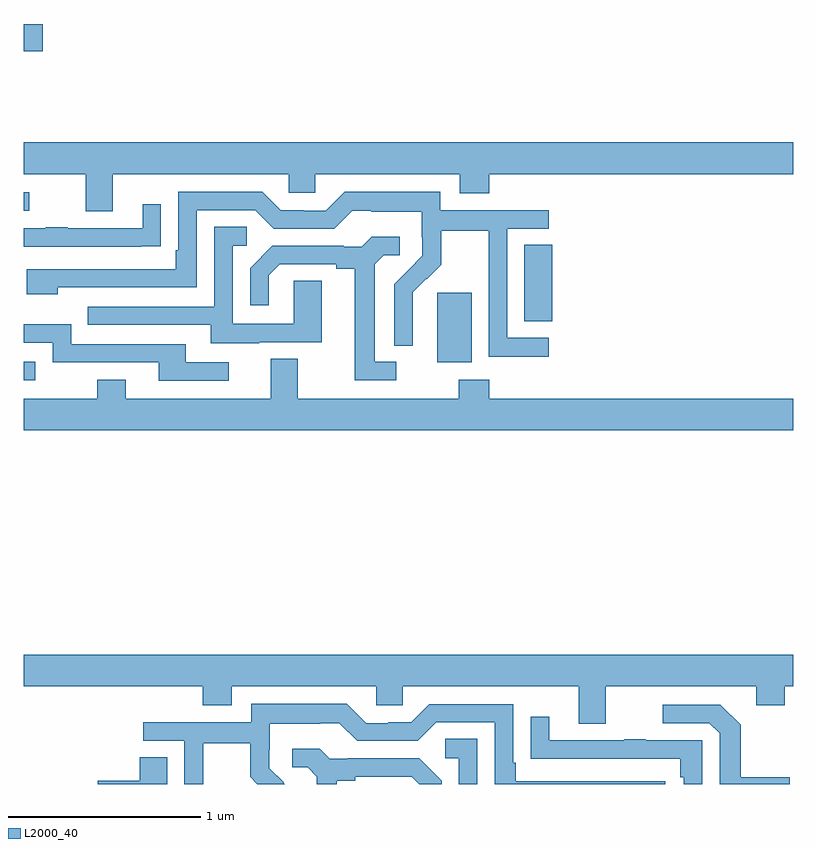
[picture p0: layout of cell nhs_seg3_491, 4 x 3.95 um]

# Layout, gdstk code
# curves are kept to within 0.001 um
import gdstk
lib = gdstk.Library(unit=1e-6, precision=1e-09)
def R(c, l, rs):  # rectangles x0, y0, x1, y1
    for r in rs: c.add(gdstk.rectangle(r[:2], r[2:], *l))
def P(c, l, *ps):  # polygons
    for p in ps: c.add(gdstk.Polygon(p, *l))
L2000_40 = (2000, 40)

nhs_seg3_491 = lib.new_cell('nhs_seg3_491')
R(nhs_seg3_491, L2000_40, [(135,710.499,135.058,710.595), (137.15,710.594,137.329,710.955), (137.603,710.806,137.747,711.203), (135,711.381,135.028,711.477), (135,712.21,135.097,712.352)])
P(nhs_seg3_491, L2000_40, [(135.463,711.572),(136.377,711.572),(136.377,711.474),(136.515,711.474),(136.515,711.572),(137.267,711.572),(137.267,711.473),(137.42,711.473),(137.42,711.572),(139,711.572),(139,711.736),(135,711.736),(135,711.572),(135.323,711.572),(135.323,711.378),(135.463,711.378)],
  [(137.728,710.721),(137.514,710.721),(137.514,711.288),(137.728,711.288),(137.728,711.384),(137.166,711.384),(137.166,711.481),(136.669,711.481),(136.569,711.381),(136.454,711.381),(136.454,711.384),(136.335,711.384),(136.239,711.48),(135.804,711.48),(135.804,711.175),(135.791,711.175),(135.791,711.078),(135.015,711.078),(135.015,710.948),(135.176,710.948),(135.176,710.982),(135.9,710.982),(135.9,711.384),(136.203,711.384),(136.299,711.288),(136.614,711.288),(136.707,711.381),(136.807,711.381),(136.807,711.377),(137.07,711.377),(137.07,711.243),(137.072,711.243),(137.072,711.146),(136.926,710.998),(136.926,710.68),(137.022,710.68),(137.021,710.957),(137.091,711.027),(137.094,711.024),(137.171,711.101),(137.171,711.276),(137.416,711.276),(137.416,711.052),(137.418,711.052),(137.418,710.623),(137.728,710.623)],
  [(135.611,711.196),(135.713,711.196),(135.713,711.415),(135.617,711.415),(135.617,711.291),(135.227,711.291),(135.227,711.296),(135.115,711.296),(135.115,711.291),(135,711.291),(135,711.195),(135.611,711.195)],
  [(136.225,710.697),(136.549,710.697),(136.549,711.017),(136.404,711.017),(136.404,710.793),(136.086,710.793),(136.086,711.198),(136.159,711.198),(136.159,711.299),(135.99,711.299),(135.99,710.883),(135.331,710.883),(135.331,710.787),(135.971,710.787),(135.971,710.693),(136.225,710.693)],
  [(136.936,710.595),(136.825,710.595),(136.825,711.103),(136.872,711.15),(136.954,711.15),(136.954,711.247),(136.81,711.247),(136.758,711.195),(136.664,711.195),(136.664,711.198),(136.292,711.198),(136.176,711.082),(136.176,710.889),(136.273,710.889),(136.273,711.045),(136.33,711.102),(136.625,711.102),(136.625,711.08),(136.721,711.08),(136.721,710.499),(136.936,710.499)],
  [(136.066,710.592),(135.841,710.592),(135.841,710.688),(135.246,710.688),(135.246,710.791),(135,710.791),(135,710.694),(135.15,710.694),(135.15,710.592),(135.701,710.592),(135.701,710.496),(136.066,710.496)],
  [(139,710.404),(137.42,710.404),(137.42,710.503),(137.26,710.503),(137.26,710.404),(136.423,710.404),(136.423,710.612),(136.283,710.612),(136.283,710.404),(135.529,710.404),(135.529,710.503),(135.382,710.503),(135.382,710.404),(135,710.404),(135,710.24),(139,710.24)],
  [(138.025,708.908),(138.809,708.908),(138.809,708.809),(138.957,708.809),(138.957,708.908),(139,708.908),(139,709.072),(135,709.072),(135,708.908),(135.929,708.908),(135.929,708.809),(136.081,708.809),(136.081,708.908),(136.833,708.908),(136.833,708.81),(136.971,708.81),(136.971,708.908),(137.885,708.908),(137.885,708.714),(138.025,708.714)],
  [(135.933,708.612),(136.177,708.612),(136.177,708.437),(136.214,708.4),(136.356,708.4),(136.349,708.407),(136.35,708.408),(136.276,708.482),(136.276,708.579),(136.278,708.579),(136.278,708.713),(136.541,708.713),(136.541,708.717),(136.641,708.717),(136.734,708.624),(137.049,708.624),(137.145,708.72),(137.448,708.72),(137.448,708.4),(138.334,708.4),(138.334,708.414),(137.557,708.414),(137.557,708.511),(137.544,708.511),(137.544,708.816),(137.109,708.816),(137.013,708.72),(136.895,708.72),(136.895,708.717),(136.779,708.717),(136.679,708.817),(136.182,708.817),(136.182,708.72),(135.621,708.72),(135.621,708.624),(135.834,708.624),(135.834,708.4),(135.933,708.4)],
  [(138.983,708.435),(138.727,708.435),(138.727,708.707),(138.621,708.813),(138.321,708.813),(138.321,708.717),(138.564,708.717),(138.618,708.663),(138.618,708.4),(138.983,708.4)],
  [(138.528,708.627),(138.233,708.627),(138.233,708.632),(138.121,708.632),(138.121,708.627),(137.731,708.627),(137.731,708.751),(137.635,708.751),(137.635,708.532),(137.737,708.532),(137.737,708.531),(138.412,708.531),(138.412,708.434),(138.432,708.434),(138.432,708.4),(138.528,708.4)],
  [(137.358,708.635),(137.19,708.635),(137.19,708.534),(137.262,708.534),(137.262,708.4),(137.358,708.4)],
  [(136.627,708.416),(136.723,708.416),(136.723,708.438),(137.018,708.438),(137.056,708.4),(137.172,708.4),(137.172,708.418),(137.056,708.534),(136.684,708.534),(136.684,708.531),(136.59,708.531),(136.538,708.583),(136.395,708.583),(136.395,708.486),(136.476,708.486),(136.523,708.439),(136.523,708.4),(136.627,708.4)],
  [(135.745,708.539),(135.602,708.539),(135.602,708.416),(135.384,708.416),(135.384,708.4),(135.745,708.4)])

lib.write_gds('nhs_seg3_491.gds')
